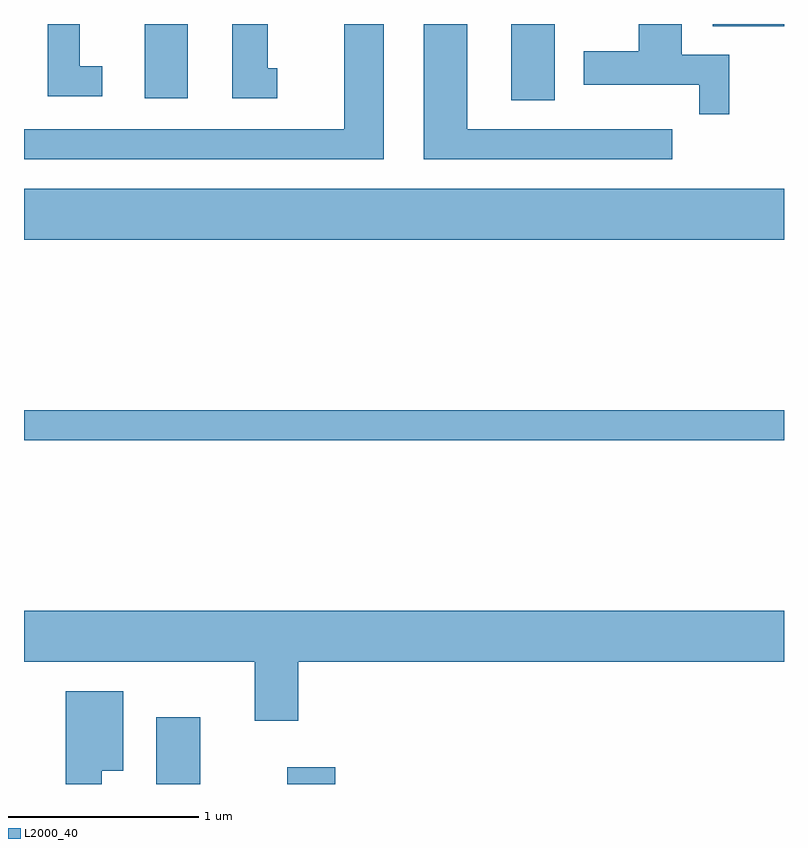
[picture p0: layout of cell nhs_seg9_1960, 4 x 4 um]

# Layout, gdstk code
import gdstk
lib = gdstk.Library(unit=1e-6, precision=1e-09)
def R(c, l, rs):  # rectangles x0, y0, x1, y1
    for r in rs: c.add(gdstk.rectangle(r[:2], r[2:], *l))
def P(c, l, *ps):  # polygons
    for p in ps: c.add(gdstk.Polygon(p, *l))
L2000_40 = (2000, 40)

nhs_seg9_1960 = lib.new_cell('nhs_seg9_1960')
R(nhs_seg9_1960, L2000_40, [(242.306,2064.432,242.539,2064.784), (242.996,2064.432,243.249,2064.519), (241.611,2066.241,245.611,2066.399), (241.611,2067.296,245.611,2067.564), (244.176,2068.031,244.404,2068.432), (242.246,2068.041,242.474,2068.432), (245.236,2068.421,245.611,2068.432)])
P(nhs_seg9_1960, L2000_40, [(243.504,2068.432),(243.296,2068.432),(243.296,2067.879),(241.611,2067.879),(241.611,2067.721),(243.504,2067.721)],
  [(245.324,2068.269),(245.074,2068.269),(245.074,2068.432),(244.846,2068.432),(244.846,2068.289),(244.556,2068.289),(244.556,2068.111),(245.166,2068.111),(245.166,2067.958),(245.324,2067.958)],
  [(242.023,2068.209),(241.904,2068.209),(241.904,2068.432),(241.736,2068.432),(241.736,2068.051),(242.023,2068.051)],
  [(245.023,2067.879),(243.944,2067.879),(243.944,2068.432),(243.716,2068.432),(243.716,2067.721),(245.023,2067.721)],
  [(242.943,2068.199),(242.894,2068.199),(242.894,2068.432),(242.706,2068.432),(242.706,2068.041),(242.943,2068.041)],
  [(243.054,2065.076),(245.611,2065.076),(245.611,2065.344),(241.611,2065.344),(241.611,2065.076),(242.826,2065.076),(242.826,2064.766),(243.054,2064.766)],
  [(242.019,2064.501),(242.134,2064.501),(242.134,2064.919),(241.831,2064.919),(241.831,2064.432),(242.019,2064.432)])

lib.write_gds('nhs_seg9_1960.gds')
